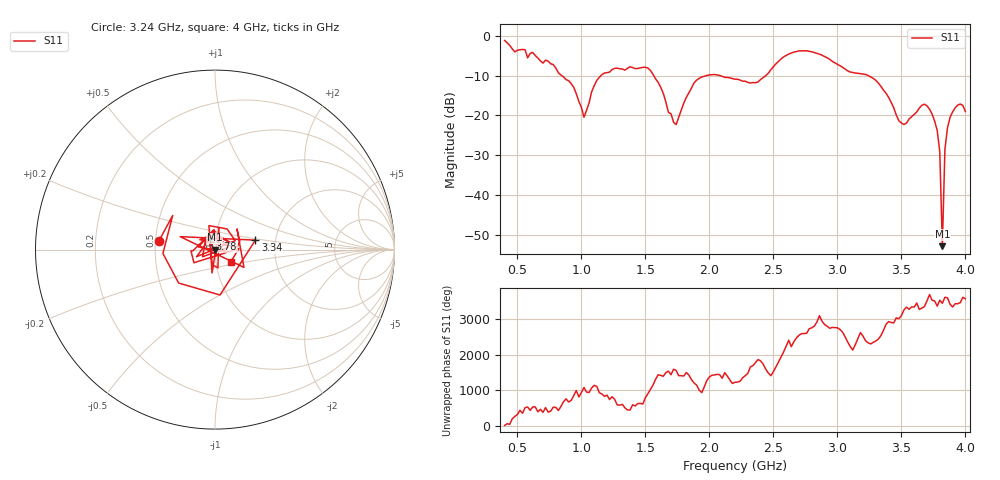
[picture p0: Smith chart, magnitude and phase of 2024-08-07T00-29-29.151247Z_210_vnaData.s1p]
!Created with skrf (http://scikit-rf.org).
# Hz S RI R 50.0
!freq ReS11 ImS11
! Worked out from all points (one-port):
!   181 points, 400 MHz to 4 GHz, reference 50 ohm
!   lowest |S11| = -52.9 dB at 3.82 GHz (marker M1), VSWR 1.00, Z = 49.8 - j0.0548 ohm
!   |S11| at or under -10 dB: 1.565 GHz to 1.978 GHz (413.2 MHz wide, 23.3 % of centre); 2.082 GHz to 2.441 GHz (358.5 MHz wide, 15.9 % of centre); 3.24 GHz to end of sweep (the widest 3 of 4)
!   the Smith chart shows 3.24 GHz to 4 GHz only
!   S11 on the Smith chart (normalised r, x): 3.24 GHz: 0.52, +0.06; 3.34 GHz: 1.57, +0.17; 3.78 GHz: 0.94, +0.11; 4 GHz: 1.18, -0.17
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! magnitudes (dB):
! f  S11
! 400 MHz  -1.2
! 860 MHz  -10.3
! 940 MHz  -13.0
! 1.02 GHz  -20.5
! 1.12 GHz  -11.2
! 1.3 GHz  -8.3
! 1.52 GHz  -8.1
! 1.62 GHz  -13.0
! 1.72 GHz  -21.8
! 1.76 GHz  -20.5
! 1.92 GHz  -10.7
! 2.2 GHz  -10.9
! 2.38 GHz  -11.6
! 2.66 GHz  -4.1
! 2.86 GHz  -4.6
! 3.1 GHz  -9.1
! 3.24 GHz  -10.0
! 3.34 GHz  -12.7
! 3.48 GHz  -21.4
! 3.56 GHz  -20.9
! 3.68 GHz  -17.2
! 3.78 GHz  -23.9
! 3.8 GHz  -29.2
! 3.82 GHz  -52.9
! 3.84 GHz  -28.6
! 3.86 GHz  -23.2
! 3.94 GHz  -17.5
! 4 GHz  -19.1
